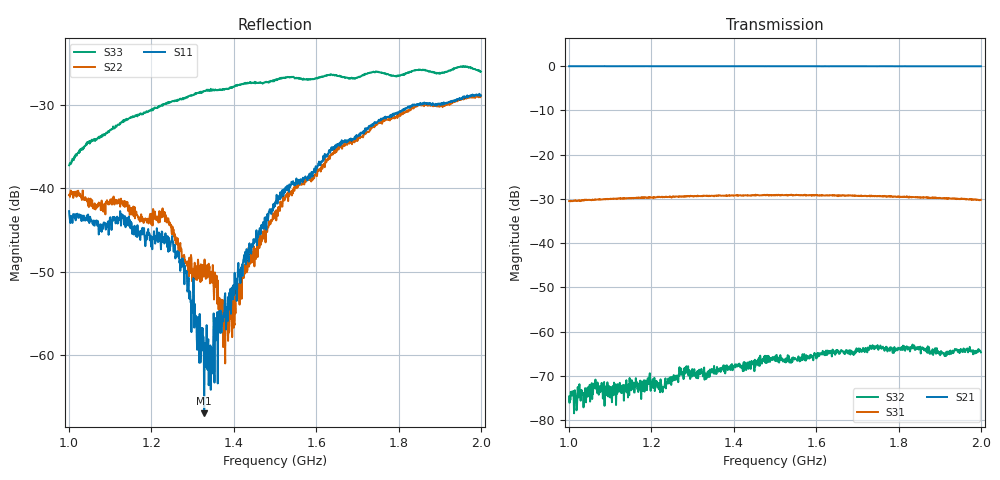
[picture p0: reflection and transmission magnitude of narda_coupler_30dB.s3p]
#  HZ  S  DB  R  50.00
! Rohde & Schwarz Vector Network Analyzer
! Rohde-Schwarz,ZNB8-4Port,1311601044102961,2.82
! Created: UTC 3/4/2022, 3:42:02 PM
! freq[Hz]  db:S11  ang:S11  db:S12  ang:S12  db:S13  ang:S13
!  db:S21  ang:S21  db:S22  ang:S22  db:S23  ang:S23
!  db:S31  ang:S31  db:S32  ang:S32  db:S33  ang:S33
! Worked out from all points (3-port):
!   1001 points, 1 GHz to 2 GHz, reference 50 ohm
!   strongest paths, dB at 1 GHz, 1.25 GHz, 1.5 GHz, 1.75 GHz, 2 GHz:
!     S21: 0.0, 0.0, 0.0, -0.1, -0.1
!     S31: -30.5, -29.5, -29.1, -29.4, -30.2
!     S32: -74.7, -70.2, -66.5, -63.8, -64.7
!   lowest |S11| = -66.9 dB at 1.328 GHz (marker M1), VSWR 1.00, Z = 50 + j0.0448 ohm
!   |S11| at or under -10 dB: start of sweep to end of sweep
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1e9  -42.74 74.5  -0.03 -169.5  -30.45 -86.2
     -0.05 -169.5  -40.80 143.6  -75.38 49.9
     -30.51 -86.7  -74.66 55.2  -37.26 161.4
1.252e9  -46.35 70.2  -0.04 147.8  -29.51 -131.1
         -0.05 147.7  -45.17 90.6  -70.34 36.0
         -29.47 -131.9  -70.57 42.5  -29.55 135.1
1.286e9  -49.93 72.9  -0.04 142.0  -29.43 -137.3
         -0.04 142.0  -49.26 99.3  -69.93 34.8
         -29.40 -137.2  -69.05 25.4  -29.07 130.3
1.328e9  -66.92 96.1  -0.04 134.9  -29.27 -144.4
         -0.05 134.9  -49.18 118.3  -69.24 17.0
         -29.27 -144.2  -68.10 19.3  -28.36 127.4
1.344e9  -64.11 106.9  -0.04 132.2  -29.35 -146.8
         -0.05 132.2  -50.45 121.7  -68.50 20.4
         -29.34 -147.9  -69.33 18.0  -28.11 126.8
1.384e9  -54.18 152.3  -0.05 125.4  -29.29 -154.4
         -0.04 125.4  -54.33 145.8  -68.73 27.1
         -29.36 -154.5  -68.58 8.8  -28.14 122.3
1.425e9  -47.99 174.6  -0.04 118.5  -29.22 -161.9
         -0.04 118.5  -49.51 167.9  -68.82 7.0
         -29.21 -161.5  -68.83 4.4  -27.46 118.3
1.5e9  -42.15 167.1  -0.04 105.8  -29.23 -175.2
       -0.04 105.8  -42.85 -162.1  -66.33 -9.0
       -29.11 -174.8  -66.48 -19.2  -27.10 111.8
1.735e9  -32.37 135.5  -0.04 65.9  -29.36 143.6
         -0.05 65.9  -32.81 165.3  -64.64 -63.6
         -29.37 143.7  -63.89 -64.3  -26.15 97.9
2e9  -28.91 98.5  -0.05 21.1  -30.29 96.5
     -0.06 21.0  -28.91 115.0  -64.30 -140.9
     -30.22 96.3  -64.68 -138.4  -26.03 99.8
